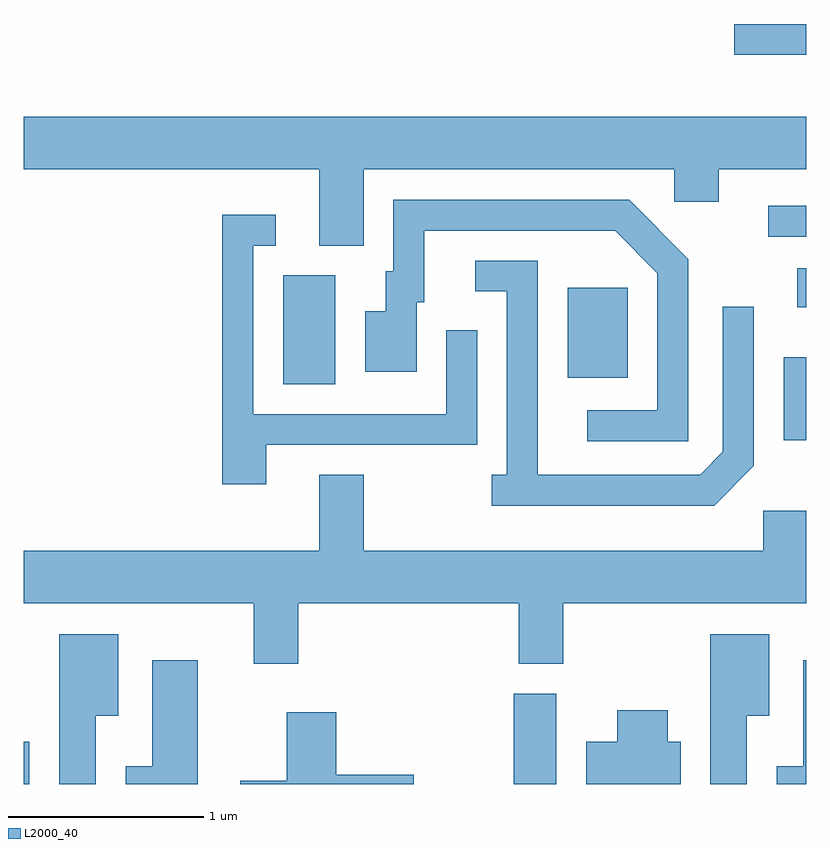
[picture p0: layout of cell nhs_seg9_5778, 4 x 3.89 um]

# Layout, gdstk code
import gdstk
lib = gdstk.Library(unit=1e-6, precision=1e-09)
def R(c, l, rs):  # rectangles x0, y0, x1, y1
    for r in rs: c.add(gdstk.rectangle(r[:2], r[2:], *l))
def P(c, l, *ps):  # polygons
    for p in ps: c.add(gdstk.Polygon(p, *l))
L2000_40 = (2000, 40)

nhs_seg9_5778 = lib.new_cell('nhs_seg9_5778')
R(nhs_seg9_5778, L2000_40, [(355.611,2006.432,355.639,2006.649), (358.116,2006.432,358.334,2006.894), (359.496,2008.191,359.611,2008.614), (356.936,2008.476,357.204,2009.034), (358.391,2008.511,358.699,2008.969), (359.566,2008.871,359.611,2009.069), (359.418,2009.231,359.611,2009.389), (359.243,2010.161,359.611,2010.319)])
P(nhs_seg9_5778, L2000_40, [(357.349,2009.576),(358.936,2009.576),(358.936,2009.411),(359.164,2009.411),(359.164,2009.576),(359.611,2009.576),(359.611,2009.844),(355.611,2009.844),(355.611,2009.576),(357.121,2009.576),(357.121,2009.186),(357.349,2009.186)],
  [(359.009,2009.117),(358.707,2009.419),(357.501,2009.419),(357.501,2009.054),(357.461,2009.054),(357.461,2008.849),(357.356,2008.849),(357.356,2008.541),(357.619,2008.541),(357.619,2008.896),(357.659,2008.896),(357.659,2009.261),(358.634,2009.261),(358.851,2009.044),(358.851,2008.344),(358.493,2008.344),(358.493,2008.186),(359.009,2008.186)],
  [(356.849,2008.166),(357.929,2008.166),(357.929,2008.753),(357.771,2008.753),(357.771,2008.324),(356.784,2008.324),(356.784,2009.186),(356.898,2009.186),(356.898,2009.344),(356.626,2009.344),(356.626,2007.966),(356.849,2007.966)],
  [(359.344,2008.059),(359.344,2008.873),(359.186,2008.873),(359.186,2008.132),(359.069,2008.014),(358.239,2008.014),(358.239,2009.109),(357.918,2009.109),(357.918,2008.951),(358.081,2008.951),(358.081,2008.014),(358.003,2008.014),(358.003,2007.856),(359.142,2007.856)],
  [(357.014,2007.356),(358.141,2007.356),(358.141,2007.046),(358.369,2007.046),(358.369,2007.356),(359.611,2007.356),(359.611,2007.829),(359.391,2007.829),(359.391,2007.624),(357.349,2007.624),(357.349,2008.014),(357.121,2008.014),(357.121,2007.624),(355.611,2007.624),(355.611,2007.356),(356.786,2007.356),(356.786,2007.046),(357.014,2007.046)],
  [(355.979,2006.781),(356.094,2006.781),(356.094,2007.199),(355.791,2007.199),(355.791,2006.432),(355.979,2006.432)],
  [(359.309,2006.781),(359.424,2006.781),(359.424,2007.199),(359.121,2007.199),(359.121,2006.432),(359.309,2006.432)],
  [(359.611,2007.064),(359.596,2007.064),(359.596,2006.524),(359.461,2006.524),(359.461,2006.432),(359.611,2006.432)],
  [(356.499,2007.064),(356.266,2007.064),(356.266,2006.524),(356.131,2006.524),(356.131,2006.432),(356.499,2006.432)],
  [(358.969,2006.649),(358.904,2006.649),(358.904,2006.809),(358.646,2006.809),(358.646,2006.649),(358.486,2006.649),(358.486,2006.432),(358.969,2006.432)],
  [(357.604,2006.479),(357.209,2006.479),(357.209,2006.799),(356.956,2006.799),(356.956,2006.449),(356.716,2006.449),(356.716,2006.432),(357.604,2006.432)])

lib.write_gds('nhs_seg9_5778.gds')
